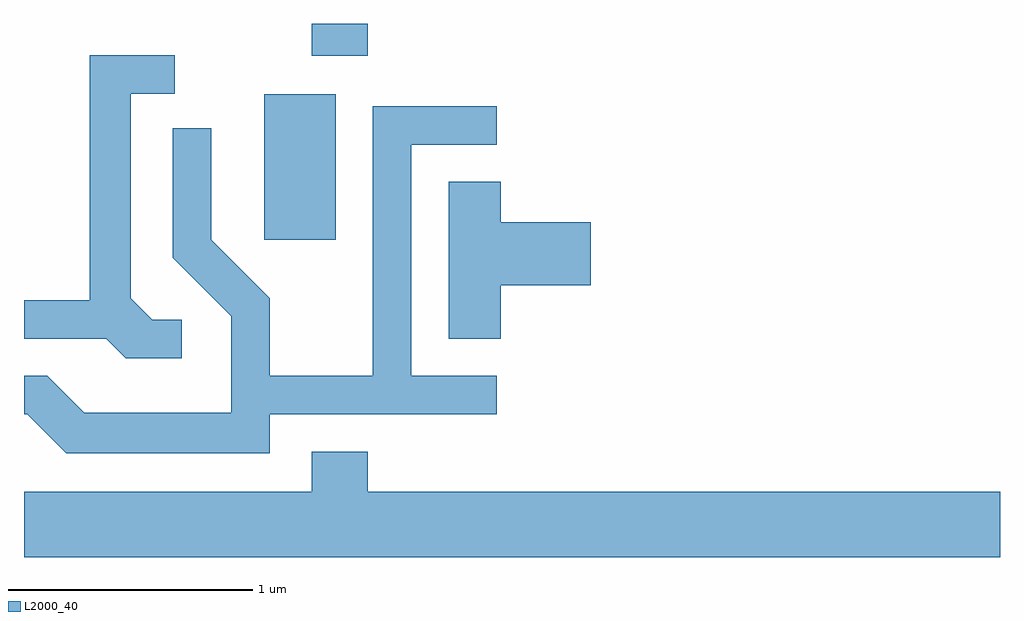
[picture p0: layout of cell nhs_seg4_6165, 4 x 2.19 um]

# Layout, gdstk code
import gdstk
lib = gdstk.Library(unit=1e-6, precision=1e-09)
def R(c, l, rs):  # rectangles x0, y0, x1, y1
    for r in rs: c.add(gdstk.rectangle(r[:2], r[2:], *l))
def P(c, l, *ps):  # polygons
    for p in ps: c.add(gdstk.Polygon(p, *l))
L2000_40 = (2000, 40)

nhs_seg4_6165 = lib.new_cell('nhs_seg4_6165')
R(nhs_seg4_6165, L2000_40, [(366.596,1347.096,366.889,1347.694), (366.791,1347.851,367.019,1347.982)])
P(nhs_seg4_6165, L2000_40, [(366.258,1346.769),(366.137,1346.769),(366.049,1346.857),(366.049,1347.696),(366.228,1347.696),(366.228,1347.854),(365.881,1347.854),(365.881,1346.849),(365.611,1346.849),(365.611,1346.691),(365.949,1346.691),(366.029,1346.611),(366.258,1346.611)],
  [(366.619,1346.381),(367.548,1346.381),(367.548,1346.539),(367.199,1346.539),(367.199,1347.486),(367.548,1347.486),(367.548,1347.644),(367.041,1347.644),(367.041,1346.539),(366.619,1346.539),(366.619,1346.857),(366.379,1347.097),(366.379,1347.553),(366.221,1347.553),(366.221,1347.024),(366.461,1346.784),(366.461,1346.389),(365.857,1346.389),(365.707,1346.539),(365.611,1346.539),(365.611,1346.381),(365.624,1346.381),(365.784,1346.221),(366.619,1346.221)],
  [(367.564,1346.911),(367.934,1346.911),(367.934,1347.169),(367.564,1347.169),(367.564,1347.334),(367.351,1347.334),(367.351,1346.691),(367.564,1346.691)],
  [(369.611,1346.064),(367.019,1346.064),(367.019,1346.229),(366.791,1346.229),(366.791,1346.064),(365.611,1346.064),(365.611,1345.796),(369.611,1345.796)])

lib.write_gds('nhs_seg4_6165.gds')
